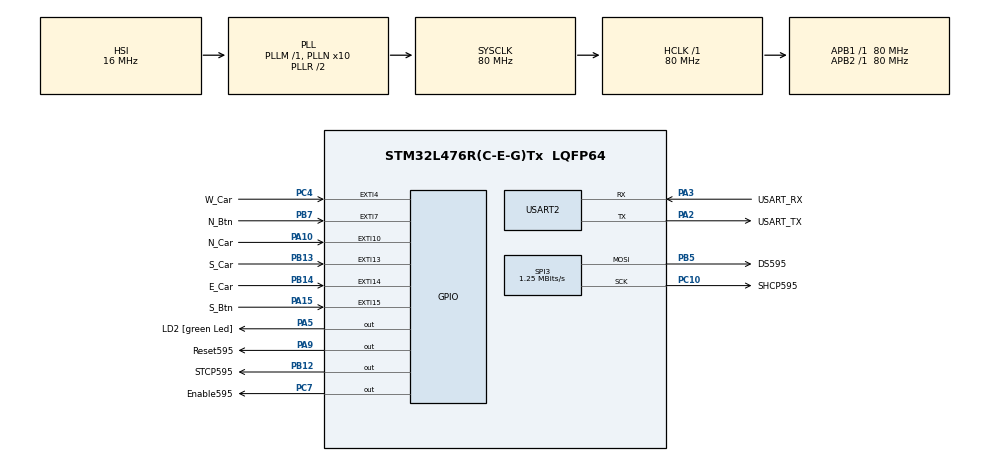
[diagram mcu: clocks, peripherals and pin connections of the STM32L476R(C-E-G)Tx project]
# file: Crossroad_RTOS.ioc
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FREERTOS.Tasks01=defaultTask,24,128,StartDefaultTask,Default,NULL,Dynamic,NULL,NULL;MainTask,24,128,StateMachine,Default,NULL,Dynamic,NULL,NULL;TransmitTask,24,128,TransmitData,Default,NULL,Dynamic,NULL,NULL;DataTask,24,128,ManageData,Default,NULL,Dynamic,NULL,NULL;TriggTask,41,128,Trigg,Default,NULL,Dynamic,NULL,NULL
FREERTOS.configUSE_NEWLIB_REENTRANT=1
Mcu.Family=STM32L4
Mcu.Name=STM32L476R(C-E-G)Tx
Mcu.Package=LQFP64
NVIC.EXTI15_10_IRQn=true\:15\:0\:true\:false\:true\:true\:true\:true\:true
NVIC.EXTI4_IRQn=true\:15\:0\:true\:false\:true\:true\:true\:true\:true
NVIC.EXTI9_5_IRQn=true\:15\:0\:true\:false\:true\:true\:true\:true\:true
NVIC.PriorityGroup=NVIC_PRIORITYGROUP_4
NVIC.TIM1_UP_TIM16_IRQn=true\:15\:0\:false\:false\:true\:false\:false\:true\:true
NVIC.TimeBase=TIM1_UP_TIM16_IRQn
NVIC.TimeBaseIP=TIM1
PA10.GPIO_Label=N_Car
PA10.GPIO_ModeDefaultEXTI=GPIO_MODE_IT_RISING_FALLING
PA10.Signal=GPXTI10
PA13\ (JTMS-SWDIO).GPIO_Label=TMS
PA13\ (JTMS-SWDIO).Mode=Serial_Wire
PA13\ (JTMS-SWDIO).Signal=SYS_JTMS-SWDIO
PA14\ (JTCK-SWCLK).GPIO_Label=TCK
PA14\ (JTCK-SWCLK).Mode=Serial_Wire
PA14\ (JTCK-SWCLK).Signal=SYS_JTCK-SWCLK
PA15\ (JTDI).GPIO_Label=S_Btn
PA15\ (JTDI).GPIO_PuPd=GPIO_PULLUP
PA15\ (JTDI).Signal=GPXTI15
PA2.GPIO_Label=USART_TX
PA2.GPIO_Mode=GPIO_MODE_AF_PP
PA2.GPIO_PuPd=GPIO_NOPULL
PA2.GPIO_Speed=GPIO_SPEED_FREQ_VERY_HIGH
PA2.Mode=Asynchronous
PA2.Signal=USART2_TX
PA3.GPIO_Label=USART_RX
PA3.GPIO_Mode=GPIO_MODE_AF_PP
PA3.GPIO_PuPd=GPIO_NOPULL
PA3.GPIO_Speed=GPIO_SPEED_FREQ_VERY_HIGH
PA3.Mode=Asynchronous
PA3.Signal=USART2_RX
PA5.GPIO_Label=LD2 [green Led]
PA5.GPIO_ModeDefaultOutputPP=GPIO_MODE_OUTPUT_PP
PA5.GPIO_PuPd=GPIO_NOPULL
PA5.GPIO_Speed=GPIO_SPEED_FREQ_LOW
PA5.Signal=GPIO_Output
PA9.GPIO_Label=Reset595
PA9.Signal=GPIO_Output
PB12.GPIO_Label=STCP595
PB12.Signal=GPIO_Output
PB13.GPIO_Label=S_Car
PB13.GPIO_ModeDefaultEXTI=GPIO_MODE_IT_RISING_FALLING
PB13.Signal=GPXTI13
PB14.GPIO_Label=E_Car
PB14.GPIO_ModeDefaultEXTI=GPIO_MODE_IT_RISING_FALLING
PB14.Signal=GPXTI14
PB3\ (JTDO-TRACESWO).GPIO_Label=SWO
PB3\ (JTDO-TRACESWO).Signal=SYS_JTDO-SWO
PB5.GPIO_Label=DS595
PB5.Mode=TX_Only_Simplex_Unidirect_Master
PB5.Signal=SPI3_MOSI
PB7.GPIO_Label=N_Btn
PB7.GPIO_PuPd=GPIO_PULLUP
PB7.Signal=GPXTI7
PC10.GPIO_Label=SHCP595
PC10.Mode=TX_Only_Simplex_Unidirect_Master
PC10.Signal=SPI3_SCK
PC14-OSC32_IN\ (PC14).Mode=LSE-External-Oscillator
PC14-OSC32_IN\ (PC14).Signal=RCC_OSC32_IN
PC15-OSC32_OUT\ (PC15).Mode=LSE-External-Oscillator
PC15-OSC32_OUT\ (PC15).Signal=RCC_OSC32_OUT
PC4.GPIO_Label=W_Car
PC4.GPIO_ModeDefaultEXTI=GPIO_MODE_IT_RISING_FALLING
PC4.Signal=GPXTI4
PC7.GPIO_Label=Enable595
PC7.Signal=GPIO_Output
PH0-OSC_IN\ (PH0).Signal=RCC_OSC_IN
PH1-OSC_OUT\ (PH1).Signal=RCC_OSC_OUT
ProjectManager.HeapSize=0x200
ProjectManager.StackSize=0x400
ProjectManager.TargetToolchain=STM32CubeIDE
RCC.ADCFreq_Value=64000000
RCC.AHBFreq_Value=80000000
RCC.APB1Freq_Value=80000000
RCC.APB1TimFreq_Value=80000000
RCC.APB2Freq_Value=80000000
RCC.APB2TimFreq_Value=80000000
RCC.CortexFreq_Value=80000000
RCC.HCLKFreq_Value=80000000
RCC.HSE_VALUE=8000000
RCC.HSI_VALUE=16000000
RCC.MSI_VALUE=4000000
RCC.PLLN=10
RCC.PLLSourceVirtual=RCC_PLLSOURCE_HSI
RCC.PREFETCH_ENABLE=1
RCC.SYSCLKFreq_VALUE=80000000
RCC.SYSCLKSource=RCC_SYSCLKSOURCE_PLLCLK
RCC.USBFreq_Value=64000000
RCC.VCOOutputFreq_Value=160000000
SPI3.BaudRatePrescaler=SPI_BAUDRATEPRESCALER_64
SPI3.CalculateBaudRate=1.25 MBits/s
SPI3.DataSize=SPI_DATASIZE_8BIT
SPI3.Direction=SPI_DIRECTION_2LINES
SPI3.Mode=SPI_MODE_MASTER
SPI3.VirtualType=VM_MASTER
USART2.VirtualMode-Asynchronous=VM_ASYNC
VP_FREERTOS_VS_CMSIS_V2.Mode=CMSIS_V2
VP_SYS_VS_tim1.Mode=TIM1
board=NUCLEO-L476RG

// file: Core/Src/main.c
/* USER CODE BEGIN Header */
/**
  ******************************************************************************
  * @file           : main.c
  * @brief          : Main program body
  ******************************************************************************
  * @attention
  *
  * Copyright (c) 2022 STMicroelectronics.
  * All rights reserved.
  *
  * This software is licensed under terms that can be found in the LICENSE file
  * in the root directory of this software component.
  * If no LICENSE file comes with this software, it is provided AS-IS.
  *
  ******************************************************************************
  */
/* USER CODE END Header */
#include "main.h"
#include "cmsis_os.h"
#include "spi.h"
#include "usart.h"
#include "gpio.h"

/* USER CODE BEGIN Includes */
#include "test.h"
/* USER CODE END Includes */

/* USER CODE BEGIN PD */

#undef RUN_TEST_PROGRAM
//#define RUN_TEST_PROGRAM

/* USER CODE END PD */

void SystemClock_Config(void);
void MX_FREERTOS_Init(void);

int main(void)
{

  /* MCU Configuration--------------------------------------------------------*/

  /* Reset of all peripherals, Initializes the Flash interface and the Systick. */
  HAL_Init();

  /* Configure the system clock */
  SystemClock_Config();

  /* Initialize all configured peripherals */
  MX_GPIO_Init();
  MX_USART2_UART_Init();
  MX_SPI3_Init();
  /* USER CODE BEGIN 2 */
#ifdef RUN_TEST_PROGRAM
	testing();
#else
  /* USER CODE END 2 */

  /* Init scheduler */
  osKernelInitialize();  /* Call init function for freertos objects (in freertos.c) */
  MX_FREERTOS_Init();

  /* Start scheduler */
  osKernelStart();
#endif
  /* We should never get here as control is now taken by the scheduler */
  /* Infinite loop */
  while (1)
  {

  }
}

void SystemClock_Config(void)
{
  RCC_OscInitTypeDef RCC_OscInitStruct = {0};
  RCC_ClkInitTypeDef RCC_ClkInitStruct = {0};

  /** Configure the main internal regulator output voltage
  */
  if (HAL_PWREx_ControlVoltageScaling(PWR_REGULATOR_VOLTAGE_SCALE1) != HAL_OK)
  {
    Error_Handler();
  }

  /** Initializes the RCC Oscillators according to the specified parameters
  * in the RCC_OscInitTypeDef structure.
  */
  RCC_OscInitStruct.OscillatorType = RCC_OSCILLATORTYPE_HSI;
  RCC_OscInitStruct.HSIState = RCC_HSI_ON;
  RCC_OscInitStruct.HSICalibrationValue = RCC_HSICALIBRATION_DEFAULT;
  RCC_OscInitStruct.PLL.PLLState = RCC_PLL_ON;
  RCC_OscInitStruct.PLL.PLLSource = RCC_PLLSOURCE_HSI;
  RCC_OscInitStruct.PLL.PLLM = 1;
  RCC_OscInitStruct.PLL.PLLN = 10;
  RCC_OscInitStruct.PLL.PLLP = RCC_PLLP_DIV7;
  RCC_OscInitStruct.PLL.PLLQ = RCC_PLLQ_DIV2;
  RCC_OscInitStruct.PLL.PLLR = RCC_PLLR_DIV2;
  if (HAL_RCC_OscConfig(&RCC_OscInitStruct) != HAL_OK)
  {
    Error_Handler();
  }

  /** Initializes the CPU, AHB and APB buses clocks
  */
  RCC_ClkInitStruct.ClockType = RCC_CLOCKTYPE_HCLK|RCC_CLOCKTYPE_SYSCLK
                              |RCC_CLOCKTYPE_PCLK1|RCC_CLOCKTYPE_PCLK2;
  RCC_ClkInitStruct.SYSCLKSource = RCC_SYSCLKSOURCE_PLLCLK;
  RCC_ClkInitStruct.AHBCLKDivider = RCC_SYSCLK_DIV1;
  RCC_ClkInitStruct.APB1CLKDivider = RCC_HCLK_DIV1;
  RCC_ClkInitStruct.APB2CLKDivider = RCC_HCLK_DIV1;

  if (HAL_RCC_ClockConfig(&RCC_ClkInitStruct, FLASH_LATENCY_4) != HAL_OK)
  {
    Error_Handler();
  }
}

void HAL_TIM_PeriodElapsedCallback(TIM_HandleTypeDef *htim)
{
  if (htim->Instance == TIM1) {
    HAL_IncTick();
  }
}

void Error_Handler(void)
{
  __disable_irq();
  while (1)
  {
  }
}

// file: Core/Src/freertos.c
/* USER CODE BEGIN Header */
/**
  ******************************************************************************
  * @file    : freertos.c
  * @author  : Ronny Westphal
  * @date    : 16-december-2022
  * @brief   : Freertos implementation of the Traffic Lights Project.
  ******************************************************************************
  */
/* USER CODE END Header */

#include "FreeRTOS.h"
#include "task.h"
#include "main.h"
#include "cmsis_os.h"

/* USER CODE BEGIN Includes */
#include "semphr.h"
#include "gpio_functions.h"
#include "crossing_functions.h"

/* USER CODE END Includes */

/* USER CODE BEGIN Variables */
extern states State, NextState;
uint32_t waitTime = greenDelay;

GpioPinPosition specificPin = 0x80;

bool carsVertical = false;
bool carsHorizontal = false;
bool greenVertical = false;
bool NBtnPressed = false;
bool SBtnPressed = false;
bool stayGreen = false;

SemaphoreHandle_t NbinarySem;
SemaphoreHandle_t mutex;
uint32_t debugCounter = 0;
/* USER CODE END Variables */

/* Definitions for MainTask */
osThreadId_t MainTaskHandle;
const osThreadAttr_t MainTask_attributes = {
  .name = "MainTask",
  .stack_size = 128 * 4,
  .priority = (osPriority_t) osPriorityNormal,
};
/* Definitions for TransmitTask */
osThreadId_t TransmitTaskHandle;
const osThreadAttr_t TransmitTask_attributes = {
  .name = "TransmitTask",
  .stack_size = 128 * 4,
  .priority = (osPriority_t) osPriorityNormal,
};
/* Definitions for BlueLeds */
osThreadId_t BlueLedsHandle;
const osThreadAttr_t BlueLeds_attributes = {
  .name = "BlueLeds",
  .stack_size = 128 * 4,
  .priority = (osPriority_t) osPriorityNormal,
};

void StartDefaultTask(void *argument);
void StateMachine(void *argument);
void TransmitData(void *argument);
void StartBlueLeds(void *argument);
void MX_FREERTOS_Init(void); /* (MISRA C 2004 rule 8.1) */

void MX_FREERTOS_Init(void) {
  /* Create the thread(s) */
  /* creation of MainTask */
  MainTaskHandle = osThreadNew(StateMachine, NULL, &MainTask_attributes);
  /* creation of TransmitTask */
  TransmitTaskHandle = osThreadNew(TransmitData, NULL, &TransmitTask_attributes);
  /* creation of BlueLeds */
  BlueLedsHandle = osThreadNew(StartBlueLeds, NULL, &BlueLeds_attributes);
}

/* USER CODE BEGIN Header_MainTask */
/**
* @brief Function implementing the MainTask thread.
* 		 State machine for the Traffic Lights Project.
*/
/* USER CODE END Header_MainTask */
void StateMachine(void *argument)
{
  /* USER CODE BEGIN CV_leds */
	NextState = Start;
	uint32_t localCounter = 0;

	TickType_t xLastWakeTime;
	const TickType_t xPeriod = pdMS_TO_TICKS(10);
	xLastWakeTime = xTaskGetTickCount();

	for(;;){
		State = NextState;
		localCounter++;
		debugCounter = 1;
		switch (State){
		case Start:
			if (!stayGreen){
				nextDirection();
				NextState = DefaultState;
			}
			else if (localCounter >= waitTime-yellowDelay)		// reset timer after maximum wait time
				localCounter = 0;
			break;

		case DefaultState:
			if (localCounter >= waitTime-yellowDelay)
				NextState = YellowState;
			break;

		case YellowState:
			if (!pinState(S_Ped) || !pinState(N_Ped)){
				yellowLeds();
				localCounter = 0;
			}
			if (localCounter >= yellowDelay){
				localCounter = 0;
				checkNextState();
				if (NBtnPressed || SBtnPressed)
					nextBlueLedsAction();
			}
			break;
		}
		debugCounter=0;
		vTaskDelayUntil( &xLastWakeTime, xPeriod );
	}
  /* USER CODE END MainTask */
}

/* USER CODE BEGIN Header_TransmitData */
/**
* @brief Function implementing the TransmitTask thread.
* 		 Transmits the data stored in LedRegs every 100ms if the data is updated
*/
/* USER CODE END Header_TransmitData */
void TransmitData(void *argument)
{
  /* USER CODE BEGIN TransmitData */
	TickType_t xLastWakeTime;
	const TickType_t xPeriod = pdMS_TO_TICKS(100);
	xLastWakeTime = xTaskGetTickCount();

	uint8_t previousLEDPattern[3];

	for(;;)
	{
		for (uint8_t i=0; i<3; i++){
			if (LedRegister.ledReg[i] != previousLEDPattern[i]){
				LED_pattern_transmit();
				for (uint8_t i=0; i<3; i++){
					previousLEDPattern[i] = LedRegister.ledReg[i];
				}
			}
		}
		vTaskDelayUntil( &xLastWakeTime, xPeriod );
  	}
  /* USER CODE END TransmitData */
}

/* USER CODE BEGIN Header_BlueLeds */
/**
* @brief Function implementing the BlueLeds thread.
* 		 Starts blinking when the semaphore is given from the ISR
*/
/* USER CODE END Header_BlueLeds */
void StartBlueLeds(void *argument)
{
  /* USER CODE BEGIN BlueLeds */
	TickType_t xLastWakeTime;
	const TickType_t xPeriod = pdMS_TO_TICKS(toggleFreq);
	xLastWakeTime = xTaskGetTickCount();

	NbinarySem = xSemaphoreCreateBinary();

	for(;;)
	{
		if (xSemaphoreTake(NbinarySem, (TickType_t)0)==pdTRUE){
			blueStateToggle();
			xSemaphoreGive(NbinarySem);
		}
		vTaskDelayUntil( &xLastWakeTime, xPeriod );
	}
  /* USER CODE END BlueLeds */
}
